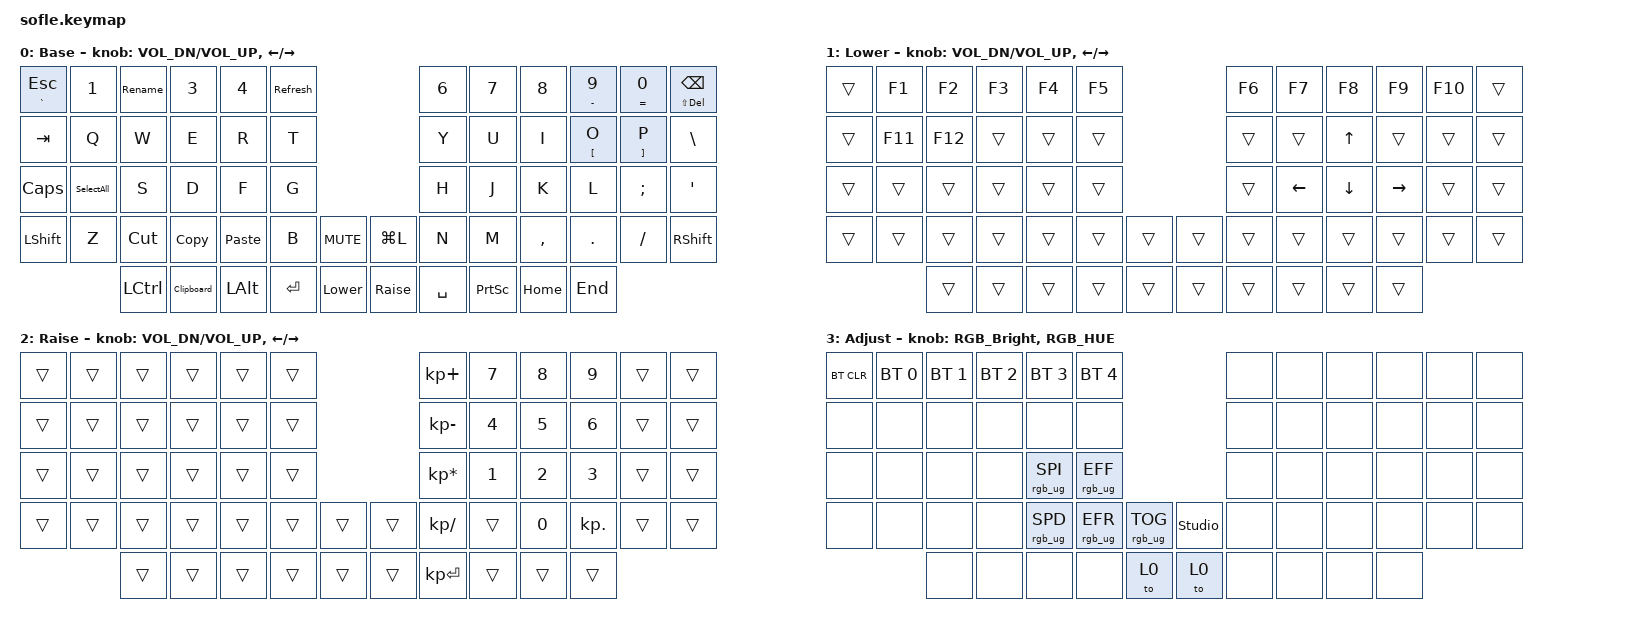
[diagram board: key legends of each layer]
/*
 * Copyright (c) 2020 The ZMK Contributors
 *
 * SPDX-License-Identifier: MIT
 */

#include <behaviors.dtsi>
#include <dt-bindings/zmk/bt.h>
#include <dt-bindings/zmk/keys.h>
#include <dt-bindings/zmk/rgb.h>

// Define Layer

#define BASE 0
#define LOWER 1
#define RAISE 2
#define ADJUST 3

/ {
    // ------------------------------------------------------------------------------------------------------------
    // Activate ADJUST layer by pressing raise and lower

    conditional_layers {
        compatible = "zmk,conditional-layers";

        Adjust {
            if-layers = <1 2>;
            then-layer = <3>;
        };
    };

    // ------------------------------------------------------------------------------------------------------------

    behaviors {
        RGB_HUE: RGB_HUE {
            compatible = "zmk,behavior-sensor-rotate";
            label = "RGB_HUE";
            #sensor-binding-cells = <0>;
            bindings = <&rgb_ug RGB_HUD>, <&rgb_ug RGB_HUI>;
        };

        RGB_Bright: RGB_Bright {
            compatible = "zmk,behavior-sensor-rotate";
            label = "RGB_BRIGHT";
            #sensor-binding-cells = <0>;
            bindings = <&rgb_ug RGB_BRD>, <&rgb_ug RGB_BRI>;

            tap-ms = <5>;
        };

        Hold_Tap: Hold_Tap {
            compatible = "zmk,behavior-hold-tap";
            label = "HOLD_TAP";
            bindings = <&kp>, <&kp>;

            #binding-cells = <2>;
            tapping-term-ms = <200>;
            flavor = "tap-preferred";
        };

        Lower: Lower {
            compatible = "zmk,behavior-tap-dance";
            label = "LOWER";
            #binding-cells = <0>;
            bindings = <&mo 1>, <&tog 1>;

            tapping-term-ms = <400>;
        };

        Raise: Raise {
            compatible = "zmk,behavior-tap-dance";
            label = "RAISE";
            #binding-cells = <0>;
            bindings = <&mo 2>, <&tog 2>;

            tapping-term-ms = <400>;
        };

        Cut: Cut {
            compatible = "zmk,behavior-tap-dance";
            label = "CUT";
            #binding-cells = <0>;
            bindings = <&kp X>, <&kp LC(X)>;

            tapping-term-ms = <200>;
        };

        Copy: Copy {
            compatible = "zmk,behavior-tap-dance";
            label = "COPY";
            #binding-cells = <0>;
            bindings = <&kp C>, <&kp LC(C)>;

            tapping-term-ms = <200>;
        };

        Paste: Paste {
            compatible = "zmk,behavior-tap-dance";
            label = "PASTE";
            #binding-cells = <0>;
            bindings = <&kp V>, <&kp LC(V)>;

            tapping-term-ms = <200>;
        };

        Rename: Rename {
            compatible = "zmk,behavior-tap-dance";
            label = "RENAME";
            #binding-cells = <0>;
            bindings = <&kp N2>, <&kp F2>;

            tapping-term-ms = <200>;
        };

        Refresh: Refresh {
            compatible = "zmk,behavior-tap-dance";
            label = "REFRESH";
            #binding-cells = <0>;
            bindings = <&kp N5>, <&kp F5>;

            tapping-term-ms = <200>;
        };

        Clipboard: Clipboard {
            compatible = "zmk,behavior-tap-dance";
            label = "CLIPBOARD";
            #binding-cells = <0>;
            bindings = <&kp LEFT_WIN>, <&kp LG(V)>;

            tapping-term-ms = <200>;
        };

        SelectAll: SelectAll {
            compatible = "zmk,behavior-tap-dance";
            label = "SELECTALL";
            #binding-cells = <0>;
            bindings = <&kp A>, <&kp LC(A)>;
        };
    };

    keymap {
        compatible = "zmk,keymap";

        // ------------------------------------------------------------------------------------------------------------

        Base {
            label = "Base";
            bindings = <
&Hold_Tap GRAVE ESCAPE  &kp N1      &Rename    &kp N3      &kp N4        &Refresh                            &kp N6     &kp N7           &kp N8     &Hold_Tap MINUS NUMBER_9  &Hold_Tap EQUAL NUMBER_0   &Hold_Tap LS(DELETE) BACKSPACE
&kp TAB                 &kp Q       &kp W      &kp E       &kp R         &kp T                               &kp Y      &kp U            &kp I      &Hold_Tap LEFT_BRACKET O  &Hold_Tap RIGHT_BRACKET P  &kp BSLH
&kp CAPS                &SelectAll  &kp S      &kp D       &kp F         &kp G                               &kp H      &kp J            &kp K      &kp L                     &kp SEMI                   &kp SQT
&kp LSHFT               &kp Z       &Cut       &Copy       &Paste        &kp B      &kp C_MUTE    &kp LG(L)  &kp N      &kp M            &kp COMMA  &kp DOT                   &kp FSLH                   &kp RSHFT
                                    &kp LCTRL  &Clipboard  &kp LEFT_ALT  &kp ENTER  &Lower        &Raise     &kp SPACE  &kp PRINTSCREEN  &kp HOME   &kp END
            >;

            sensor-bindings =
                <&inc_dec_kp C_VOL_DN C_VOL_UP>,
                <&inc_dec_kp LEFT RIGHT>;
        };

        // ------------------------------------------------------------------------------------------------------------

        Lower {
            label = "Lower";
            bindings = <
&trans  &kp F1   &kp F2   &kp F3  &kp F4  &kp F5                    &kp F6  &kp F7    &kp F8    &kp F9     &kp F10  &trans
&trans  &kp F11  &kp F12  &trans  &trans  &trans                    &trans  &trans    &kp UP    &trans     &trans   &trans
&trans  &trans   &trans   &trans  &trans  &trans                    &trans  &kp LEFT  &kp DOWN  &kp RIGHT  &trans   &trans
&trans  &trans   &trans   &trans  &trans  &trans  &trans    &trans  &trans  &trans    &trans    &trans     &trans   &trans
                 &trans   &trans  &trans  &trans  &trans    &trans  &trans  &trans    &trans    &trans
            >;

            //none sensor-bindings

            sensor-bindings =
                <&inc_dec_kp C_VOL_DN C_VOL_UP>,
                <&inc_dec_kp LEFT RIGHT>;
        };

        // ------------------------------------------------------------------------------------------------------------

        Raise {
            label = "Raise";
            bindings = <
&trans  &trans  &trans  &trans  &trans  &trans                    &kp KP_PLUS      &kp N7  &kp N8  &kp N9      &trans  &trans
&trans  &trans  &trans  &trans  &trans  &trans                    &kp KP_MINUS     &kp N4  &kp N5  &kp N6      &trans  &trans
&trans  &trans  &trans  &trans  &trans  &trans                    &kp KP_MULTIPLY  &kp N1  &kp N2  &kp N3      &trans  &trans
&trans  &trans  &trans  &trans  &trans  &trans  &trans    &trans  &kp KP_DIVIDE    &trans  &kp N0  &kp KP_DOT  &trans  &trans
                &trans  &trans  &trans  &trans  &trans    &trans  &kp KP_ENTER     &trans  &trans  &trans
            >;

            //none sensor-bindings

            sensor-bindings =
                <&inc_dec_kp C_VOL_DN C_VOL_UP>,
                <&inc_dec_kp LEFT RIGHT>;
        };

        // ------------------------------------------------------------------------------------------------------------

        Adjust {
            label = "Adjust";
            bindings = <
&bt BT_CLR  &bt BT_SEL 0  &bt BT_SEL 1  &bt BT_SEL 2  &bt BT_SEL 3     &bt BT_SEL 4                                        &none  &none  &none  &none  &none  &none
&none       &none         &none         &none         &none            &none                                               &none  &none  &none  &none  &none  &none
&none       &none         &none         &none         &rgb_ug RGB_SPI  &rgb_ug RGB_EFF                                     &none  &none  &none  &none  &none  &none
&none       &none         &none         &none         &rgb_ug RGB_SPD  &rgb_ug RGB_EFR  &rgb_ug RGB_TOG    &studio_unlock  &none  &none  &none  &none  &none  &none
                          &none         &none         &none            &none            &to 0              &to 0           &none  &none  &none  &none
            >;

            sensor-bindings = <&RGB_Bright>, <&RGB_HUE>;
        };
    };
};
